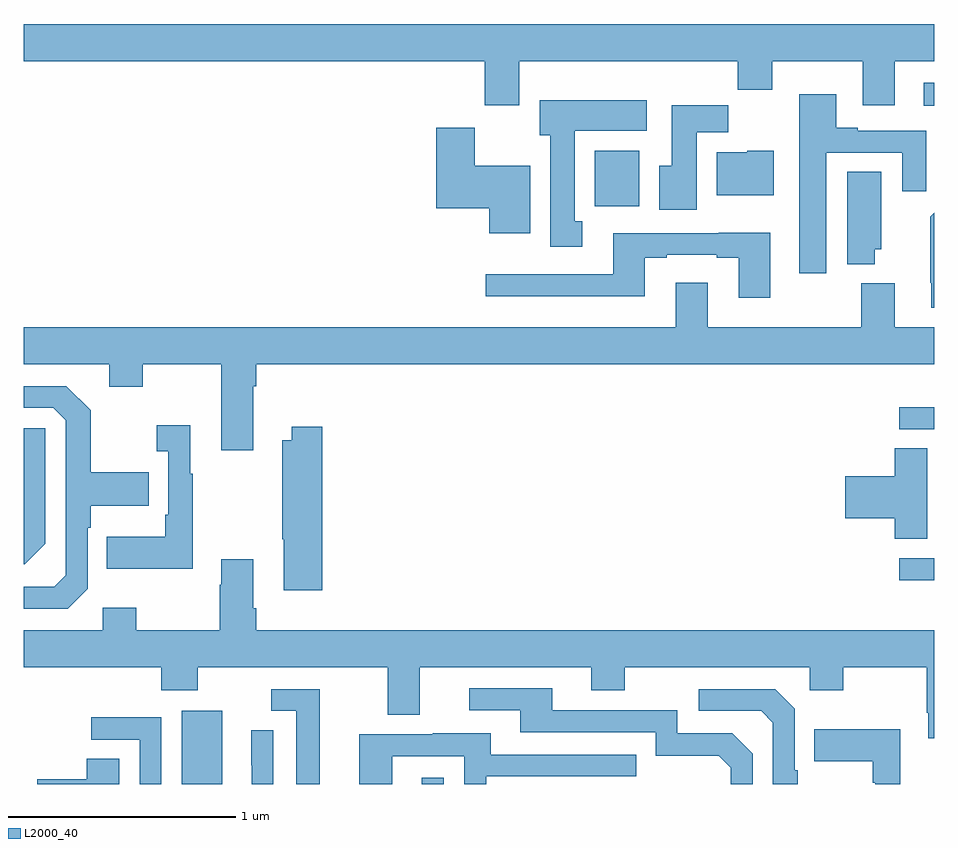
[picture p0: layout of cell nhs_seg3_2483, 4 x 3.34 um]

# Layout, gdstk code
import gdstk
lib = gdstk.Library(unit=1e-6, precision=1e-09)
def R(c, l, rs):  # rectangles x0, y0, x1, y1
    for r in rs: c.add(gdstk.rectangle(r[:2], r[2:], *l))
def P(c, l, *ps):  # polygons
    for p in ps: c.add(gdstk.Polygon(p, *l))
L2000_40 = (2000, 40)

nhs_seg3_2483 = lib.new_cell('nhs_seg3_2483')
R(nhs_seg3_2483, L2000_40, [(239.693,704.4,239.872,704.722), (240.749,704.4,240.846,704.428), (242.847,705.295,243,705.393), (242.847,705.96,243,706.056), (241.508,706.94,241.705,707.182), (242.955,707.381,243,707.482)])
P(nhs_seg3_2483, L2000_40, [(241.177,707.576),(242.137,707.576),(242.137,707.452),(242.289,707.452),(242.289,707.576),(242.687,707.576),(242.687,707.382),(242.827,707.382),(242.827,707.576),(243,707.576),(243,707.74),(239,707.74),(239,707.576),(241.025,707.576),(241.025,707.382),(241.177,707.382)],
  [(242.527,707.175),(242.861,707.175),(242.861,707.004),(242.965,707.004),(242.965,707.271),(242.665,707.271),(242.665,707.284),(242.569,707.284),(242.569,707.431),(242.408,707.431),(242.408,706.644),(242.527,706.644)],
  [(241.453,706.874),(241.42,706.874),(241.42,707.27),(241.738,707.27),(241.738,707.404),(241.268,707.404),(241.268,707.25),(241.313,707.25),(241.313,706.761),(241.453,706.761)],
  [(241.957,707.264),(242.096,707.264),(242.096,707.383),(241.847,707.383),(241.847,707.116),(241.793,707.116),(241.793,706.923),(241.957,706.923)],
  [(241.225,707.116),(240.982,707.116),(240.982,707.284),(240.812,707.284),(240.812,706.931),(241.046,706.931),(241.046,706.82),(241.225,706.82)],
  [(242.296,707.182),(242.178,707.182),(242.178,707.176),(242.045,707.176),(242.045,706.988),(242.296,706.988)],
  [(242.74,706.749),(242.767,706.749),(242.767,707.09),(242.618,707.09),(242.618,706.685),(242.74,706.685)],
  [(243,706.911),(242.983,706.894),(242.983,706.603),(242.987,706.603),(242.987,706.493),(243,706.493)],
  [(242.281,706.822),(242.053,706.822),(242.053,706.821),(241.589,706.821),(241.589,706.641),(241.029,706.641),(241.029,706.544),(241.729,706.544),(241.729,706.713),(241.825,706.713),(241.825,706.725),(242.045,706.725),(242.045,706.713),(242.141,706.713),(242.141,706.536),(242.281,706.536)],
  [(240.007,706.148),(240.02,706.148),(240.02,706.244),(243,706.244),(243,706.408),(242.827,706.408),(242.827,706.6),(242.68,706.6),(242.68,706.408),(242.005,706.408),(242.005,706.603),(241.865,706.603),(241.865,706.408),(239,706.408),(239,706.244),(239.375,706.244),(239.375,706.145),(239.523,706.145),(239.523,706.244),(239.867,706.244),(239.867,705.867),(240.007,705.867)],
  [(239.28,705.258),(239.28,705.527),(239.293,705.527),(239.293,705.623),(239.549,705.623),(239.549,705.771),(239.293,705.771),(239.293,706.043),(239.187,706.149),(239,706.149),(239,706.053),(239.13,706.053),(239.184,705.999),(239.184,705.318),(239.133,705.267),(239,705.267),(239,705.171),(239.193,705.171)],
  [(239.743,705.763),(239.731,705.763),(239.731,705.976),(239.583,705.976),(239.583,705.863),(239.634,705.863),(239.634,705.583),(239.622,705.583),(239.622,705.487),(239.365,705.487),(239.365,705.347),(239.743,705.347)],
  [(240.311,705.97),(240.176,705.97),(240.176,705.91),(240.136,705.91),(240.136,705.475),(240.143,705.475),(240.143,705.252),(240.311,705.252)],
  [(239.094,705.456),(239.094,705.963),(239,705.963),(239,705.366),(239.004,705.366)],
  [(242.971,705.875),(242.828,705.875),(242.828,705.752),(242.61,705.752),(242.61,705.569),(242.828,705.569),(242.828,705.478),(242.971,705.478)],
  [(243,705.076),(240.02,705.076),(240.02,705.172),(240.007,705.172),(240.007,705.388),(239.867,705.388),(239.867,705.275),(239.86,705.275),(239.86,705.076),(239.493,705.076),(239.493,705.175),(239.346,705.175),(239.346,705.076),(239,705.076),(239,704.912),(239.603,704.912),(239.603,704.813),(239.763,704.813),(239.763,704.912),(240.599,704.912),(240.599,704.704),(240.739,704.704),(240.739,704.912),(241.493,704.912),(241.493,704.813),(241.641,704.813),(241.641,704.912),(242.454,704.912),(242.454,704.813),(242.601,704.813),(242.601,704.912),(242.968,704.912),(242.968,704.713),(242.975,704.713),(242.975,704.601),(243,704.601)],
  [(242.202,704.532),(242.112,704.622),(241.872,704.622),(241.872,704.724),(241.321,704.724),(241.321,704.82),(240.957,704.82),(240.957,704.724),(241.181,704.724),(241.181,704.628),(241.776,704.628),(241.776,704.525),(242.053,704.525),(242.106,704.472),(242.106,704.4),(242.202,704.4)],
  [(240.301,704.817),(240.087,704.817),(240.087,704.721),(240.197,704.721),(240.197,704.4),(240.301,704.4)],
  [(242.401,704.461),(242.388,704.461),(242.388,704.73),(242.301,704.817),(241.965,704.817),(241.965,704.721),(242.241,704.721),(242.292,704.67),(242.292,704.4),(242.401,704.4)],
  [(239.604,704.694),(239.295,704.694),(239.295,704.595),(239.508,704.595),(239.508,704.4),(239.604,704.4)],
  [(242.851,704.641),(242.473,704.641),(242.473,704.501),(242.73,704.501),(242.73,704.405),(242.742,704.405),(242.742,704.4),(242.851,704.4)],
  [(240.096,704.636),(240,704.636),(240,704.482),(240.002,704.482),(240.002,704.4),(240.096,704.4)],
  [(240.618,704.523),(240.936,704.523),(240.936,704.4),(241.032,704.4),(241.032,704.433),(241.691,704.433),(241.691,704.529),(241.051,704.529),(241.051,704.623),(240.797,704.623),(240.797,704.619),(240.473,704.619),(240.473,704.4),(240.618,704.4)],
  [(239.419,704.51),(239.276,704.51),(239.276,704.42),(239.058,704.42),(239.058,704.4),(239.419,704.4)])

lib.write_gds('nhs_seg3_2483.gds')
